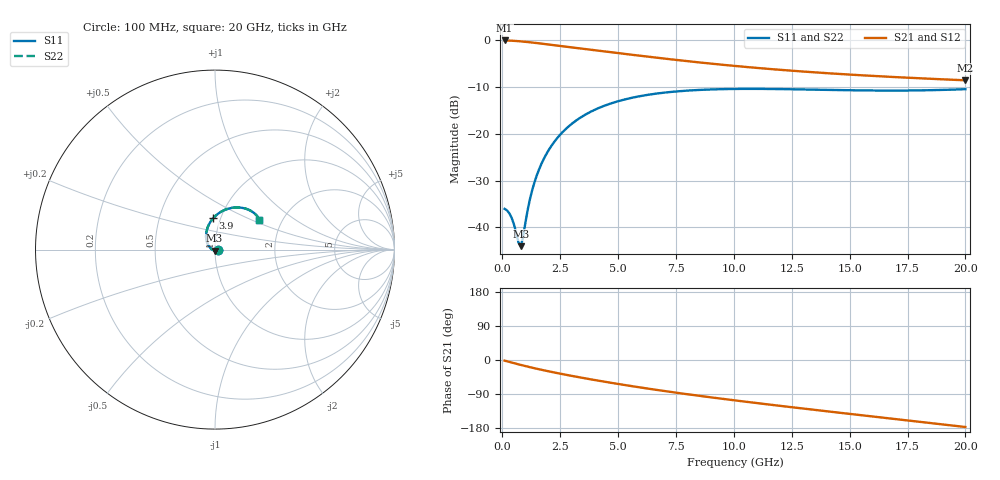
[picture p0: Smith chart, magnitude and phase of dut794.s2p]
! Touchstone file exported from HFSS 2024.1.0
!  File:  C:/UserFiles/LocalFiles/RDL_TSV_Batchsim/temp_RDL_TSV_794_1779908586.aedt
!  Generated:  03:19:47 AM May 28, 2026
!  Design:  RDL_TSV
!  Project:  temp_RDL_TSV_794_1779908586
!  Setup:  Setup1
!  Solution:  Sweep
! Variables:
!  dtsv = 14.5um
!  hbump = 3um
!  htsv = 73.82um
!  ldown = 429.19um
!  lrdl = 217.86um
!  p = 40
!  p1 = 46.34um
!  rhole = 10um
!  subl = 2159.01um
!  t = 450um
!  tdown = 3.49um
!  trdl = 4.76um
!  viad = 10um
!  wdown = 13.54um
!  wrdl = 10.3um
!  xbump = 18um
# GHz S MA R 50.000000
! Terminal data exported
! Port[1] = TM1_1_T1
! Port[2] = TM1_4_T1
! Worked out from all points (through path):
!   200 points, 100 MHz to 20 GHz, reference 50 ohm
!   highest |S21| = -0.14 dB at 100 MHz (marker M1); lowest = -8.6 dB at 20 GHz (marker M2)
!   group delay of S21, straight-line fit = 23 ps
!   lowest |S11| = -44.0 dB at 800 MHz (marker M3), VSWR 1.01, Z = 49.8 - j0.589 ohm
!   |S11| at or under -10 dB: start of sweep to end of sweep
!   |S22| runs from -44.0 to -10.5 dB; largest |S21 - S12| = 8.3e-15
!   S11 on the Smith chart (normalised r, x): 100 MHz: 1.03, -0.00; 3.9 GHz: 0.92, +0.33; 20 GHz: 1.53, +0.56
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0.1  0.01579 -5.2  0.9835 -1.7  0.9835 -1.7  0.01579 -5.2
! Gamma 0 0 0 0
! Port Impedance 50 0 50 0
0.3  0.01421 -17.4  0.9801 -5.0  0.9801 -5.0  0.01421 -17.4
0.4  0.01273 -25.3  0.9775 -6.7  0.9775 -6.7  0.01273 -25.3
0.5  0.01085 -35.6  0.9742 -8.3  0.9742 -8.3  0.01085 -35.6
0.7  0.006888 -74.4  0.9664 -11.5  0.9664 -11.5  0.00689 -74.4
0.8  0.006315 -110.6  0.9618 -13.0  0.9618 -13.0  0.006318 -110.6
0.9  0.007973 -145.2  0.9569 -14.6  0.9569 -14.6  0.007975 -145.2
1.1  0.01554 179.4  0.9461 -17.5  0.9461 -17.5  0.01554 179.5
1.2  0.0203 170.2  0.9404 -19.0  0.9404 -19.0  0.0203 170.2
1.4  0.03084 157.4  0.9284 -21.9  0.9284 -21.9  0.03084 157.4
1.7  0.04821 144.1  0.9096 -26.0  0.9096 -26.0  0.04821 144.2
2.1  0.07272 131.0  0.8843 -31.2  0.8843 -31.2  0.07272 131.0
2.5  0.09742 120.4  0.8595 -36.1  0.8595 -36.1  0.09743 120.4
3.5  0.1548 99.9  0.8008 -47.6  0.8008 -47.6  0.1549 100.0
3.9  0.175 93.3  0.7787 -51.9  0.7787 -51.9  0.1751 93.4
5.2  0.2283 75.9  0.7115 -65.2  0.7115 -65.2  0.2284 76.0
6.8  0.2699 60.4  0.6387 -80.1  0.6387 -80.1  0.27 60.4
8.4  0.2912 49.3  0.5774 -93.7  0.5774 -93.7  0.2914 49.3
10.1  0.2993 41.0  0.5246 -107.0  0.5246 -107.0  0.2996 41.0
13.4  0.2943 32.6  0.4512 -131.0  0.4512 -131.0  0.2946 32.5
16.7  0.2874 31.4  0.4034 -154.0  0.4034 -154.0  0.2877 31.4
20  0.2975 33.8  0.3698 -176.8  0.3698 -176.8  0.2977 33.7
